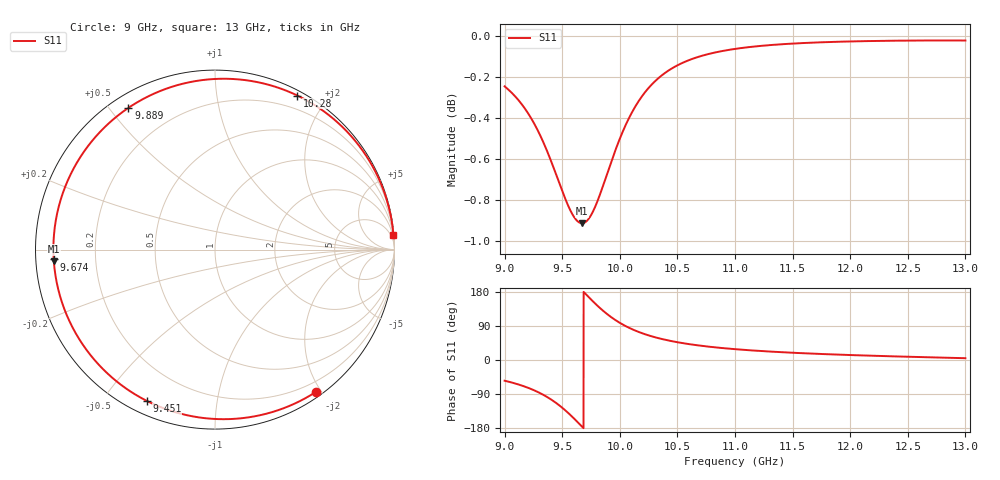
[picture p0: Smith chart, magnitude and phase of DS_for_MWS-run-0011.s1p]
! TOUCHSTONE file generated by CST DESIGN STUDIO
! Date and time: Wed Feb  5 13:42:30 2025
! Project name: C:\Work\MatlabApps\UnitCellOptimizationMatlab\CST\unitcell.cst
! Tree item: Tasks\Sweep1\SPara1\S-Parameters
! Header version: 2024
! Port assignment regex: !\s*Touchstone port\s*([0-9]+)\s*=\s*(CST MWS port|CST DES external port|CST DES block port)\s*(.+)\s* \(\"(.*)\"\)(\s*mode\s*([0-9]+))?.*
! Touchstone port assignment:
! Touchstone port 1 = CST DES external port 1 ("")
# GHz S MA R 50
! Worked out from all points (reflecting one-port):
!   4001 points, 9 GHz to 13 GHz, reference 50 ohm
!   lowest |S11| = -0.9 dB at 9.672 GHz (marker M1), VSWR 19.06, Z = 2.63 - j1.8 ohm
!   phase of S11 starts at -55 deg and turns -301 deg over the sweep
!   S11 on the Smith chart (normalised r, x): 9 GHz: 0.07, -1.94; 9.451 GHz: 0.06, -0.65; 9.674 GHz: 0.05, -0.03; 9.889 GHz: 0.05, +0.56; 10.28 GHz: 0.05, +1.67; 13 GHz: 1, +24
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9  0.972 -54.6
9.119  0.9646 -64.4
9.234  0.9544 -77.1
9.355  0.9394 -95.1
9.451  0.9246 -114.2
9.5  0.9168 -125.9
9.547  0.9098 -138.3
9.596  0.9041 -152.4
9.635  0.9012 -164.3
9.672  0.9003 -175.9
9.674  0.9003 -176.5
9.72  0.9019 169.0
9.768  0.9063 154.3
9.829  0.9151 136.8
9.889  0.9254 121.4
9.942  0.9346 109.4
10  0.9439 98.1
10.063  0.9528 87.6
10.137  0.9614 77.3
10.284  0.9734 61.9
10.385  0.979 54.0
10.5  0.9835 46.9
10.719  0.9889 37.1
11  0.9926 28.6
11.5  0.9955 19.1
12  0.9967 13.1
12.5  0.9972 8.6
13  0.9973 4.8
